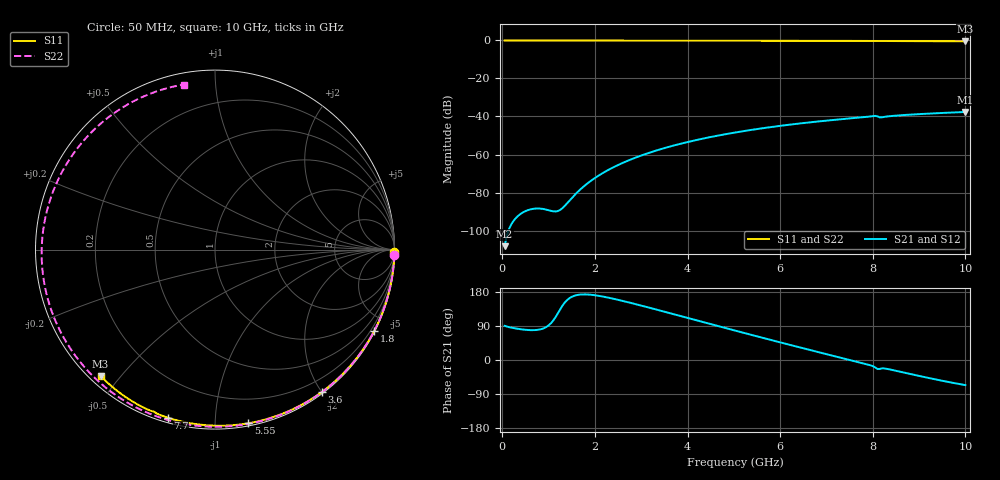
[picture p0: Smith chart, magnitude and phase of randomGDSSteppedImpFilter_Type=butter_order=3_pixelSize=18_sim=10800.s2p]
! freq	dB(S11)	phase(S11)	dB(S12)	phase(S12)
!  dB(S21)	phase(S21)	dB(S22)	phase(S22)
!S-par simulation data
#  GHz  S  DB  R 50
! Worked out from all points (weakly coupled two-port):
!   200 points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, 50 MHz to 10 GHz, reference 50 ohm
!   highest |S21| = -37.62 dB at 10 GHz (marker M1); lowest = -108.2 dB at 50 MHz (marker M2)
!   lowest |S11| = -0.4 dB at 10 GHz (marker M3), VSWR 38.69, Z = 1.55 - j22.2 ohm
!   |S11| at or under -10 dB: nowhere
!   |S22| runs from -0.6 to 0.0 dB; largest |S21 - S12| = 0
!   S11 on the Smith chart (normalised r, x): 50 MHz: open; 1.8 GHz: 0.04, -4.15; 3.6 GHz: 0.02, -2.01; 5.55 GHz: 0.02, -1.21; 7.7 GHz: 0.02, -0.76; 10 GHz: 0.03, -0.44
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0.05  -0.00 -0.8  -108.22 90.2  -108.22 90.2  -0.00 -1.6
0.4  -0.01 -6.1  -91.15 81.1  -91.15 81.1  -0.02 -12.9
0.8  -0.02 -12.2  -88.42 80.3  -88.42 80.3  -0.03 -25.6
1.6  -0.03 -24.1  -80.35 171.0  -80.35 171.0  -0.06 -50.2
1.75  -0.03 -26.4  -76.97 173.1  -76.97 173.1  -0.07 -54.7
1.8  -0.03 -27.1  -75.96 173.1  -75.96 173.1  -0.07 -56.2
2.1  -0.04 -31.5  -70.78 169.0  -70.78 169.0  -0.08 -64.9
2.45  -0.05 -36.6  -66.11 160.2  -66.11 160.2  -0.09 -74.9
2.9  -0.06 -43.1  -61.43 146.8  -61.43 146.8  -0.11 -87.2
3.4  -0.07 -50.2  -57.34 130.7  -57.34 130.7  -0.12 -100.4
3.6  -0.07 -53.0  -55.94 124.2  -55.94 124.2  -0.13 -105.5
4.3  -0.09 -62.6  -51.80 101.3  -51.80 101.3  -0.16 -122.8
5.05  -0.11 -72.6  -48.33 76.9  -48.33 76.9  -0.19 -140.5
5.55  -0.13 -79.1  -46.42 60.8  -46.42 60.8  -0.22 -151.9
6.15  -0.15 -86.8  -44.46 41.8  -44.46 41.8  -0.26 -165.5
6.7  -0.18 -93.6  -42.92 24.7  -42.92 24.7  -0.30 -177.9
7.7  -0.24 -105.7  -40.59 -5.7  -40.59 -5.7  -0.37 159.3
8.05  -0.28 -109.9  -39.66 -19.3  -39.66 -19.3  -0.40 151.0
8.15  -0.31 -110.9  -40.48 -23.6  -40.48 -23.6  -0.41 148.6
8.35  -0.29 -113.2  -39.88 -24.4  -39.88 -24.4  -0.43 143.8
9.25  -0.37 -123.6  -38.43 -48.6  -38.43 -48.6  -0.50 121.1
10  -0.45 -132.1  -37.62 -66.2  -37.62 -66.2  -0.58 100.7
